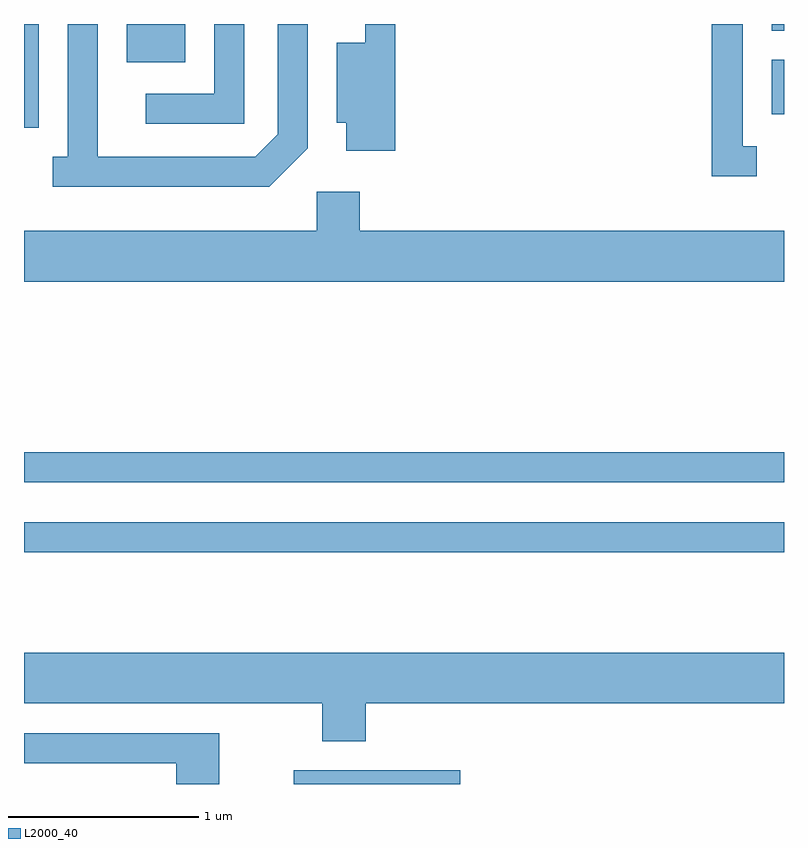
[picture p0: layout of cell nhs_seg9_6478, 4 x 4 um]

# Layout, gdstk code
import gdstk
lib = gdstk.Library(unit=1e-6, precision=1e-09)
def R(c, l, rs):  # rectangles x0, y0, x1, y1
    for r in rs: c.add(gdstk.rectangle(r[:2], r[2:], *l))
def P(c, l, *ps):  # polygons
    for p in ps: c.add(gdstk.Polygon(p, *l))
L2000_40 = (2000, 40)

nhs_seg9_6478 = lib.new_cell('nhs_seg9_6478')
R(nhs_seg9_6478, L2000_40, [(377.031,2062.432,377.908,2062.504), (375.611,2063.651,379.611,2063.809), (375.611,2064.021,379.611,2064.179), (375.611,2065.886,375.689,2066.432), (379.546,2065.956,379.611,2066.244), (376.151,2066.231,376.459,2066.432), (379.546,2066.396,379.611,2066.432)])
P(nhs_seg9_6478, L2000_40, [(379.468,2065.789),(379.394,2065.789),(379.394,2066.432),(379.231,2066.432),(379.231,2065.631),(379.468,2065.631)],
  [(377.564,2066.432),(377.406,2066.432),(377.406,2066.334),(377.256,2066.334),(377.256,2065.911),(377.306,2065.911),(377.306,2065.766),(377.564,2065.766)],
  [(376.769,2066.432),(376.611,2066.432),(376.611,2066.064),(376.253,2066.064),(376.253,2065.906),(376.769,2065.906)],
  [(377.104,2065.779),(377.104,2066.432),(376.946,2066.432),(376.946,2065.852),(376.829,2065.734),(375.999,2065.734),(375.999,2066.432),(375.841,2066.432),(375.841,2065.734),(375.763,2065.734),(375.763,2065.576),(376.902,2065.576)],
  [(379.611,2065.344),(377.379,2065.344),(377.379,2065.549),(377.151,2065.549),(377.151,2065.344),(375.611,2065.344),(375.611,2065.076),(379.611,2065.076)],
  [(375.611,2062.856),(377.181,2062.856),(377.181,2062.656),(377.409,2062.656),(377.409,2062.856),(379.611,2062.856),(379.611,2063.124),(375.611,2063.124)],
  [(376.639,2062.699),(375.611,2062.699),(375.611,2062.541),(376.411,2062.541),(376.411,2062.432),(376.639,2062.432)])

lib.write_gds('nhs_seg9_6478.gds')
